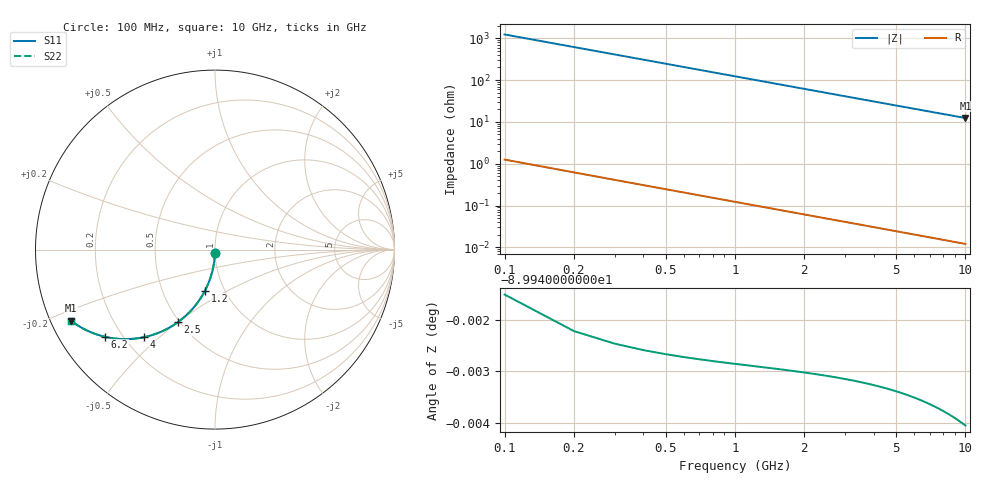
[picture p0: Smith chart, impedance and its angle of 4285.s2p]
# Hz S RI R 50.00
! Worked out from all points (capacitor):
!   100 points, 100 MHz to 10 GHz, reference 50 ohm
!   read as one part in shunt: C = 1.29 pF near 100 MHz
!   lowest |Z| = 12.4 ohm at 10 GHz (marker M1)
!   S11 on the Smith chart (normalised r, x): 100 MHz: 1.00, -0.04; 1.2 GHz: 0.81, -0.39; 2.5 GHz: 0.49, -0.50; 4 GHz: 0.28, -0.45; 6.2 GHz: 0.14, -0.34; 10 GHz: 0.06, -0.23
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1e8  -0.000422 -0.0203  0.9996 -0.0203  0.9996 -0.0203  -0.000422 -0.0203
2e8  -0.00168 -0.0405  0.9983 -0.0406  0.9983 -0.0406  -0.00168 -0.0405
3e8  -0.00375 -0.0607  0.9962 -0.0608  0.9962 -0.0608  -0.00375 -0.0607
4e8  -0.00663 -0.0807  0.9933 -0.0808  0.9933 -0.0808  -0.00663 -0.0807
5e8  -0.0103 -0.1005  0.9897 -0.1006  0.9897 -0.1006  -0.0103 -0.1005
6e8  -0.0148 -0.12  0.9852 -0.1202  0.9852 -0.1202  -0.0148 -0.12
7e8  -0.02 -0.1393  0.98 -0.1395  0.98 -0.1395  -0.02 -0.1393
9e8  -0.0325 -0.1768  0.9675 -0.177  0.9675 -0.177  -0.0325 -0.1768
1.2e9  -0.0563 -0.2299  0.9437 -0.2302  0.9437 -0.2302  -0.0563 -0.2299
1.5e9  -0.0852 -0.2785  0.9148 -0.2789  0.9148 -0.2789  -0.0852 -0.2785
1.8e9  -0.1182 -0.3221  0.8818 -0.3226  0.8818 -0.3226  -0.1182 -0.3221
2.1e9  -0.1542 -0.3603  0.8458 -0.3609  0.8458 -0.3609  -0.1542 -0.3603
2.5e9  -0.2052 -0.403  0.7948 -0.4037  0.7948 -0.4037  -0.2052 -0.403
2.9e9  -0.2577 -0.4364  0.7423 -0.4373  0.7423 -0.4373  -0.2577 -0.4364
3.4e9  -0.3228 -0.4666  0.6771 -0.4676  0.6771 -0.4676  -0.3228 -0.4666
4e9  -0.3973 -0.4883  0.6026 -0.4894  0.6026 -0.4894  -0.3973 -0.4883
5.1e9  -0.5169 -0.4985  0.483 -0.4999  0.483 -0.4999  -0.5169 -0.4985
6.2e9  -0.6123 -0.4858  0.3877 -0.4876  0.3877 -0.4876  -0.6123 -0.4858
6.7e9  -0.6483 -0.476  0.3517 -0.478  0.3517 -0.478  -0.6483 -0.476
7.5e9  -0.6976 -0.4577  0.3023 -0.4599  0.3023 -0.4599  -0.6976 -0.4577
8.4e9  -0.743 -0.4353  0.257 -0.4377  0.257 -0.4377  -0.743 -0.4353
1e10  -0.8035 -0.3954  0.1964 -0.3982  0.1964 -0.3982  -0.8035 -0.3954
